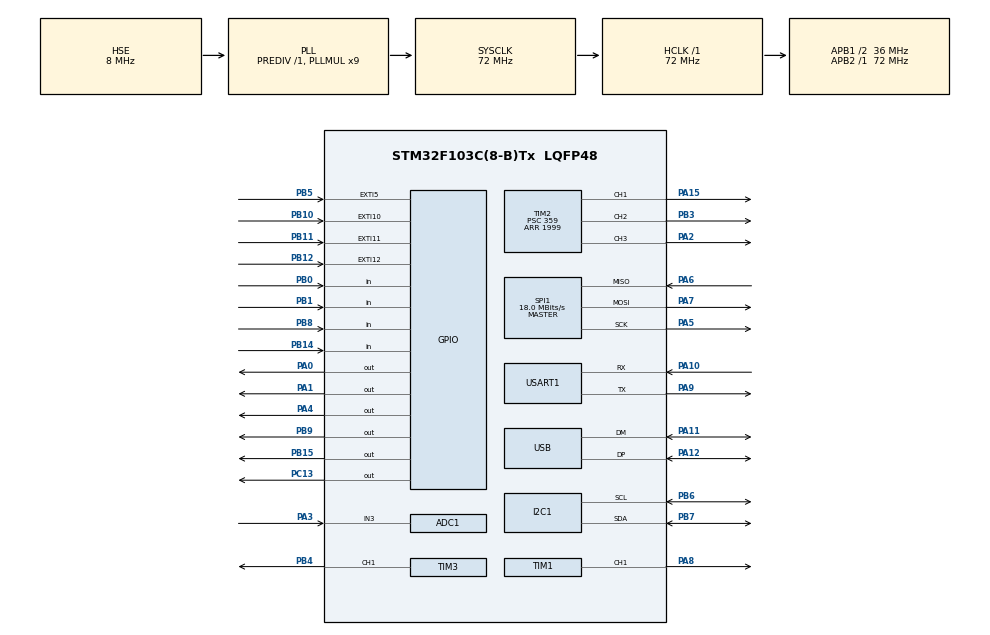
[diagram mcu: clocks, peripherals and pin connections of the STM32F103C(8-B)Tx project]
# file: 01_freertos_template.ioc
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ADC1.Channel-1\#ChannelRegularConversion=ADC_CHANNEL_3
ADC1.NbrOfConversionFlag=1
ADC1.Rank-1\#ChannelRegularConversion=1
ADC1.SamplingTime-1\#ChannelRegularConversion=ADC_SAMPLETIME_1CYCLE_5
ADC1.master=1
FREERTOS.Tasks01=defaultTask,24,128,StartDefaultTask,Default,NULL,Dynamic,NULL,NULL
FREERTOS.configUSE_STATS_FORMATTING_FUNCTIONS=1
Mcu.Family=STM32F1
Mcu.Name=STM32F103C(8-B)Tx
Mcu.Package=LQFP48
NVIC.EXTI15_10_IRQn=true\:5\:0\:false\:false\:true\:false\:true\:true\:true
NVIC.PriorityGroup=NVIC_PRIORITYGROUP_4
NVIC.TIM4_IRQn=true\:15\:0\:false\:false\:true\:false\:false\:true\:true
NVIC.TimeBase=TIM4_IRQn
NVIC.TimeBaseIP=TIM4
PA0-WKUP.Signal=GPIO_Output
PA1.GPIO_ModeDefaultOutputPP=GPIO_MODE_OUTPUT_OD
PA1.GPIO_PuPd=GPIO_PULLUP
PA1.Signal=GPIO_Output
PA10.Mode=Asynchronous
PA10.Signal=USART1_RX
PA11.Mode=Device
PA11.Signal=USB_DM
PA12.Mode=Device
PA12.Signal=USB_DP
PA13.Mode=Serial_Wire
PA13.Signal=SYS_JTMS-SWDIO
PA14.Mode=Serial_Wire
PA14.Signal=SYS_JTCK-SWCLK
PA15.Signal=S_TIM2_CH1_ETR
PA2.Signal=S_TIM2_CH3
PA3.Signal=ADCx_IN3
PA4.Signal=GPIO_Output
PA5.Mode=Full_Duplex_Master
PA5.Signal=SPI1_SCK
PA6.Mode=Full_Duplex_Master
PA6.Signal=SPI1_MISO
PA7.Mode=Full_Duplex_Master
PA7.Signal=SPI1_MOSI
PA8.Signal=S_TIM1_CH1
PA9.Mode=Asynchronous
PA9.Signal=USART1_TX
PB0.GPIO_PuPd=GPIO_PULLUP
PB0.Signal=GPIO_Input
PB1.GPIO_PuPd=GPIO_PULLUP
PB1.Signal=GPIO_Input
PB10.GPIO_ModeDefaultEXTI=GPIO_MODE_IT_RISING_FALLING
PB10.GPIO_PuPd=GPIO_PULLUP
PB10.Signal=GPXTI10
PB11.GPIO_PuPd=GPIO_PULLUP
PB11.Signal=GPXTI11
PB12.GPIO_ModeDefaultEXTI=GPIO_MODE_IT_RISING
PB12.Signal=GPXTI12
PB14.Signal=GPIO_Input
PB15.Signal=GPIO_Output
PB3.Signal=S_TIM2_CH2
PB4.Signal=S_TIM3_CH1
PB5.GPIO_PuPd=GPIO_PULLUP
PB5.Signal=GPXTI5
PB6.Mode=I2C
PB6.Signal=I2C1_SCL
PB7.Mode=I2C
PB7.Signal=I2C1_SDA
PB8.Signal=GPIO_Input
PB9.Signal=GPIO_Output
PC13-TAMPER-RTC.Signal=GPIO_Output
PC14-OSC32_IN.Signal=RCC_OSC32_IN
PC15-OSC32_OUT.Signal=RCC_OSC32_OUT
PD0-OSC_IN.Mode=HSE-External-Oscillator
PD0-OSC_IN.Signal=RCC_OSC_IN
PD1-OSC_OUT.Mode=HSE-External-Oscillator
PD1-OSC_OUT.Signal=RCC_OSC_OUT
ProjectManager.HeapSize=0x200
ProjectManager.StackSize=0x400
ProjectManager.TargetToolchain=MDK-ARM V5.32
RCC.ADCPresc=RCC_ADCPCLK2_DIV6
RCC.AHBFreq_Value=72000000
RCC.APB1CLKDivider=RCC_HCLK_DIV2
RCC.APB1Freq_Value=36000000
RCC.APB1TimFreq_Value=72000000
RCC.APB2Freq_Value=72000000
RCC.APB2TimFreq_Value=72000000
RCC.HCLKFreq_Value=72000000
RCC.PLLMUL=RCC_PLL_MUL9
RCC.PLLSourceVirtual=RCC_PLLSOURCE_HSE
RCC.SYSCLKFreq_VALUE=72000000
RCC.SYSCLKSource=RCC_SYSCLKSOURCE_PLLCLK
RCC.USBFreq_Value=48000000
RCC.USBPrescaler=RCC_USBCLKSOURCE_PLL_DIV1_5
SH.ADCx_IN3.0=ADC1_IN3,IN3
SH.S_TIM1_CH1.0=TIM1_CH1,PWM Generation1 CH1
SH.S_TIM2_CH1_ETR.0=TIM2_CH1,PWM Generation1 CH1
SH.S_TIM2_CH2.0=TIM2_CH2,PWM Generation2 CH2
SH.S_TIM2_CH3.0=TIM2_CH3,PWM Generation3 CH3
SH.S_TIM3_CH1.0=TIM3_CH1,PWM Generation1 CH1
SPI1.BaudRatePrescaler=SPI_BAUDRATEPRESCALER_4
SPI1.CalculateBaudRate=18.0 MBits/s
SPI1.Direction=SPI_DIRECTION_2LINES
SPI1.Mode=SPI_MODE_MASTER
SPI1.VirtualType=VM_MASTER
TIM1.AutoReloadPreload=TIM_AUTORELOAD_PRELOAD_ENABLE
TIM1.Channel-PWM\ Generation1\ CH1=TIM_CHANNEL_1
TIM1.Period=999
TIM1.Prescaler=71
TIM1.Pulse-PWM\ Generation1\ CH1=499
TIM2.AutoReloadPreload=TIM_AUTORELOAD_PRELOAD_ENABLE
TIM2.Channel-PWM\ Generation1\ CH1=TIM_CHANNEL_1
TIM2.Channel-PWM\ Generation2\ CH2=TIM_CHANNEL_2
TIM2.Channel-PWM\ Generation3\ CH3=TIM_CHANNEL_3
TIM2.Period=1999
TIM2.Prescaler=359
TIM3.AutoReloadPreload=TIM_AUTORELOAD_PRELOAD_ENABLE
TIM3.Channel-PWM\ Generation1\ CH1=TIM_CHANNEL_1
TIM3.Period=999
TIM3.Prescaler=7
TIM3.Pulse-PWM\ Generation1\ CH1=900
USART1.VirtualMode=VM_ASYNC
VP_FREERTOS_VS_CMSIS_V2.Mode=CMSIS_V2
VP_SYS_VS_tim4.Mode=TIM4
VP_TIM1_VS_ClockSourceINT.Mode=Internal
VP_TIM2_VS_ClockSourceINT.Mode=Internal
board=custom

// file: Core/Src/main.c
/* USER CODE BEGIN Header */
/**
  ******************************************************************************
  * @file           : main.c
  * @brief          : Main program body
  ******************************************************************************
  * @attention
  *
  * Copyright (c) 2023 STMicroelectronics.
  * All rights reserved.
  *
  * This software is licensed under terms that can be found in the LICENSE file
  * in the root directory of this software component.
  * If no LICENSE file comes with this software, it is provided AS-IS.
  *
  ******************************************************************************
  */
/* USER CODE END Header */
#include "main.h"
#include "cmsis_os.h"
#include "adc.h"
#include "i2c.h"
#include "spi.h"
#include "tim.h"
#include "usart.h"
#include "usb.h"
#include "gpio.h"

void SystemClock_Config(void);
void MX_FREERTOS_Init(void);

int main(void)
{

  /* MCU Configuration--------------------------------------------------------*/

  /* Reset of all peripherals, Initializes the Flash interface and the Systick. */
  HAL_Init();

  /* Configure the system clock */
  SystemClock_Config();

  /* Initialize all configured peripherals */
  MX_GPIO_Init();
  MX_I2C1_Init();
  MX_ADC1_Init();
  MX_SPI1_Init();
  MX_USB_PCD_Init();
  MX_TIM1_Init();
  MX_TIM2_Init();
  MX_TIM3_Init();
  MX_USART1_UART_Init();

  /* USER CODE BEGIN 2 */
  //testDrawProcess(&u8g2);

  /* USER CODE END 2 */

  /* Init scheduler */
  osKernelInitialize();  /* Call init function for freertos objects (in freertos.c) */
  MX_FREERTOS_Init();

  /* Start scheduler */
  osKernelStart();
  /* We should never get here as control is now taken by the scheduler */
  /* Infinite loop */
  /* USER CODE BEGIN WHILE */
//  while (1)
//  {
//    /* USER CODE END WHILE */

//    /* USER CODE BEGIN 3 */
//  }
  /* USER CODE END 3 */
}

void SystemClock_Config(void)
{
  RCC_OscInitTypeDef RCC_OscInitStruct = {0};
  RCC_ClkInitTypeDef RCC_ClkInitStruct = {0};
  RCC_PeriphCLKInitTypeDef PeriphClkInit = {0};

  /** Initializes the RCC Oscillators according to the specified parameters
  * in the RCC_OscInitTypeDef structure.
  */
  RCC_OscInitStruct.OscillatorType = RCC_OSCILLATORTYPE_HSE;
  RCC_OscInitStruct.HSEState = RCC_HSE_ON;
  RCC_OscInitStruct.HSEPredivValue = RCC_HSE_PREDIV_DIV1;
  RCC_OscInitStruct.HSIState = RCC_HSI_ON;
  RCC_OscInitStruct.PLL.PLLState = RCC_PLL_ON;
  RCC_OscInitStruct.PLL.PLLSource = RCC_PLLSOURCE_HSE;
  RCC_OscInitStruct.PLL.PLLMUL = RCC_PLL_MUL9;
  if (HAL_RCC_OscConfig(&RCC_OscInitStruct) != HAL_OK)
  {
    Error_Handler();
  }

  /** Initializes the CPU, AHB and APB buses clocks
  */
  RCC_ClkInitStruct.ClockType = RCC_CLOCKTYPE_HCLK|RCC_CLOCKTYPE_SYSCLK
                              |RCC_CLOCKTYPE_PCLK1|RCC_CLOCKTYPE_PCLK2;
  RCC_ClkInitStruct.SYSCLKSource = RCC_SYSCLKSOURCE_PLLCLK;
  RCC_ClkInitStruct.AHBCLKDivider = RCC_SYSCLK_DIV1;
  RCC_ClkInitStruct.APB1CLKDivider = RCC_HCLK_DIV2;
  RCC_ClkInitStruct.APB2CLKDivider = RCC_HCLK_DIV1;

  if (HAL_RCC_ClockConfig(&RCC_ClkInitStruct, FLASH_LATENCY_2) != HAL_OK)
  {
    Error_Handler();
  }
  PeriphClkInit.PeriphClockSelection = RCC_PERIPHCLK_ADC|RCC_PERIPHCLK_USB;
  PeriphClkInit.AdcClockSelection = RCC_ADCPCLK2_DIV6;
  PeriphClkInit.UsbClockSelection = RCC_USBCLKSOURCE_PLL_DIV1_5;
  if (HAL_RCCEx_PeriphCLKConfig(&PeriphClkInit) != HAL_OK)
  {
    Error_Handler();
  }
}

void HAL_TIM_PeriodElapsedCallback(TIM_HandleTypeDef *htim)
{
  if (htim->Instance == TIM4) {
    HAL_IncTick();
  }
}

void Error_Handler(void)
{
  __disable_irq();
  while (1)
  {
  }
}

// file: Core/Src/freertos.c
/* USER CODE BEGIN Header */
#include "driver_led.h"
#include "driver_lcd.h"
#include "driver_mpu6050.h"
#include "driver_timer.h"
#include "driver_ds18b20.h"
#include "driver_dht11.h"
#include "driver_active_buzzer.h"
#include "driver_passive_buzzer.h"
#include "driver_color_led.h"
#include "driver_ir_receiver.h"
#include "driver_ir_sender.h"
#include "driver_light_sensor.h"
#include "driver_ir_obstacle.h"
#include "driver_ultrasonic_sr04.h"
#include "driver_spiflash_w25q64.h"
#include "driver_rotary_encoder.h"
#include "driver_motor.h"
#include "driver_key.h"
#include "driver_uart.h"

#include "data.h"
#include "Game_Snake.h"

/**
  ******************************************************************************
  * File Name          : freertos.c
  * Description        : Code for freertos applications
  ******************************************************************************
  * @attention
  *
  * Copyright (c) 2023 STMicroelectronics.
  * All rights reserved.
  *
  * This software is licensed under terms that can be found in the LICENSE file
  * in the root directory of this software component.
  * If no LICENSE file comes with this software, it is provided AS-IS.
  *
  ******************************************************************************
  */
/* USER CODE END Header */

#include "FreeRTOS.h"
#include "task.h"
#include "main.h"
#include "cmsis_os.h"
#include "semphr.h"

/* USER CODE BEGIN Variables */

/* just variables*/
static BaseType_t ret;

/*TaskHandle*/
static TaskHandle_t xSoundTaskHandle=NULL;
TaskHandle_t xTask_ControlHandle=NULL;

/*QueueHandle*/
QueueHandle_t g_xQueuePlayMusic;
static SemaphoreHandle_t g_xI2cMutex; //信号量句柄
/*extern task*/

/* USER CODE END Variables */
/* Definitions for defaultTask */
osThreadId_t defaultTaskHandle;
const osThreadAttr_t defaultTask_attributes = {
  .name = "defaultTask",
  .stack_size = 128 * 4,
  .priority = (osPriority_t) osPriorityNormal,
};

/* USER CODE BEGIN FunctionPrototypes */
void GetI2cMutex(void)
{
	xSemaphoreTake(g_xI2cMutex,portMAX_DELAY);
}
void ReleaseI2cMutex(void)
{
	xSemaphoreGive(g_xI2cMutex);
}

/* USER CODE END FunctionPrototypes */

void StartDefaultTask(void *argument);

void MX_FREERTOS_Init(void); /* (MISRA C 2004 rule 8.1) */

void MX_FREERTOS_Init(void) {
	LCD_Init();
	LCD_Clear();

	MPU6050_Init();
	IRReceiver_Init();
	RotaryEncoder_Init();
	g_xI2cMutex=xSemaphoreCreateMutex();

  /* Create the thread(s) */
  /* creation of defaultTask */
  //defaultTaskHandle = osThreadNew(StartDefaultTask, NULL, &defaultTask_attributes);

  /* USER CODE BEGIN RTOS_THREADS */
  /* add threads, ... */

//  extern void Start_Menu(void);
//  xTaskCreate(Start_Menu,"Start_Menu_Task",128, NULL, osPriorityNormal,NULL);

  extern void Task_Control(void);
  xTaskCreate(Task_Control,"Task_Control",128, NULL, osPriorityNormal,&xTask_ControlHandle);

//  extern void Music1_Task(void* params);
//  xTaskCreate(Music1_Task,"Task_Control",128, NULL, osPriorityNormal+1,NULL);

    //Game_Snake_Init();
//	extern void Game_Snake_Init(void* params);
//	xTaskCreate(Game_Snake_Init,"Task_Control",128, NULL, osPriorityNormal,&xTask_ControlHandle);

//	extern void Third_Menu(void* params);
//	xTaskCreate(Third_Menu,"Start_Menu_Task",128, &AllItem_Data[1], osPriorityNormal,NULL);

//extern void game1_task(void *params);

  //xTaskCreate(MenuTask,"menutask",128, NULL, osPriorityNormal,NULL);
   //extern void game2_task(void);
  //xTaskCreate(game1_task,"PlayGame",128, NULL, osPriorityNormal,NULL);
   //xTaskCreate(game2_task,"PlayGame2",128, NULL, osPriorityNormal,NULL);
  //xTaskCreate(PlayMusic,"PlayMusic",128, NULL, osPriorityNormal,NULL);
  //xTaskCreate(IR_Contorl_Menu_task,"IRContorMenuTask",128, NULL, osPriorityNormal+1,NULL);
  //text

  /* USER CODE END RTOS_THREADS */

}

/* USER CODE BEGIN Header_StartDefaultTask */

/**
  * @brief  Function implementing the defaultTask thread.
  * @param  argument: Not used
  * @retval None
  */
#if 0
/* USER CODE END Header_StartDefaultTask */
void StartDefaultTask(void *argument)
{
  /* USER CODE BEGIN StartDefaultTask */
  /* Infinite loop */

	//恢复与暂停
	uint8_t Runing_State=0;
	LCD_Init();
	LCD_Clear();

	uint8_t dev, data;
	TypedefDataIR Data_Input_IR1;
    IRReceiver_Init();

	/*创建音乐播放器的队列*/
	g_xQueuePlayMusic = xQueueCreate(8,sizeof(TypedefDataIR));

    while (1)
    {
		//读取红外遥控器，dev读取的是哪一个设备id,把哪一个按键的值保存在data里
        if (pdPASS==xQueueReceive(g_xQueuePlayMusic,&Data_Input_IR1,portMAX_DELAY))
        {
			data=Data_Input_IR1.data;
            /*播放音乐*/
			if(data==0xa8)
			{
				extern void PlayMusic(void *params);
				if(xSoundTaskHandle==NULL)
				{
					//LCD_Clear();
					//LCD_PrintString(0,0,"Play Musicing");
					ret = xTaskCreate(PlayMusic, "SoundTask", 128, NULL, osPriorityNormal, &xSoundTaskHandle);
					Runing_State=1;
				}
				else
				{
					if(Runing_State)
					{
						vTaskSuspend(xSoundTaskHandle);   //传递任务句柄  暂停这个任务使这个任务到暂停状态里面去
						Runing_State = 0;
						PassiveBuzzer_Control(0);
						//LCD_ClearLine(0,2);
						//LCD_PrintString(0,2,"Music Pause");

					}
					else
					{
						vTaskResume(xSoundTaskHandle);   //恢复这个任务，使这个任务到ready状态里面去
						Runing_State = 1;
						LCD_ClearLine(0,2);
					}
				}

			}
			/*停止音乐*/
			if(data==0xa2)
			{
				if(xSoundTaskHandle!=NULL)
				{
					//LCD_Clear();
					//LCD_PrintString(0,0,"Delect Music");
					vTaskDelete(xSoundTaskHandle);    //杀死这个任务，只要把这个任务的句柄传递到这个函数
					PassiveBuzzer_Control(0);//停止蜂鸣器
					xSoundTaskHandle=NULL;
				}
				else
				{
					//LCD_ClearLine(0,2);
					//LCD_PrintString(0,2,"No music");
					vTaskDelay(100);
					//LCD_ClearLine(0,2);
				}
			}

        }
    }
  /* USER CODE END StartDefaultTask */
}
#endif
